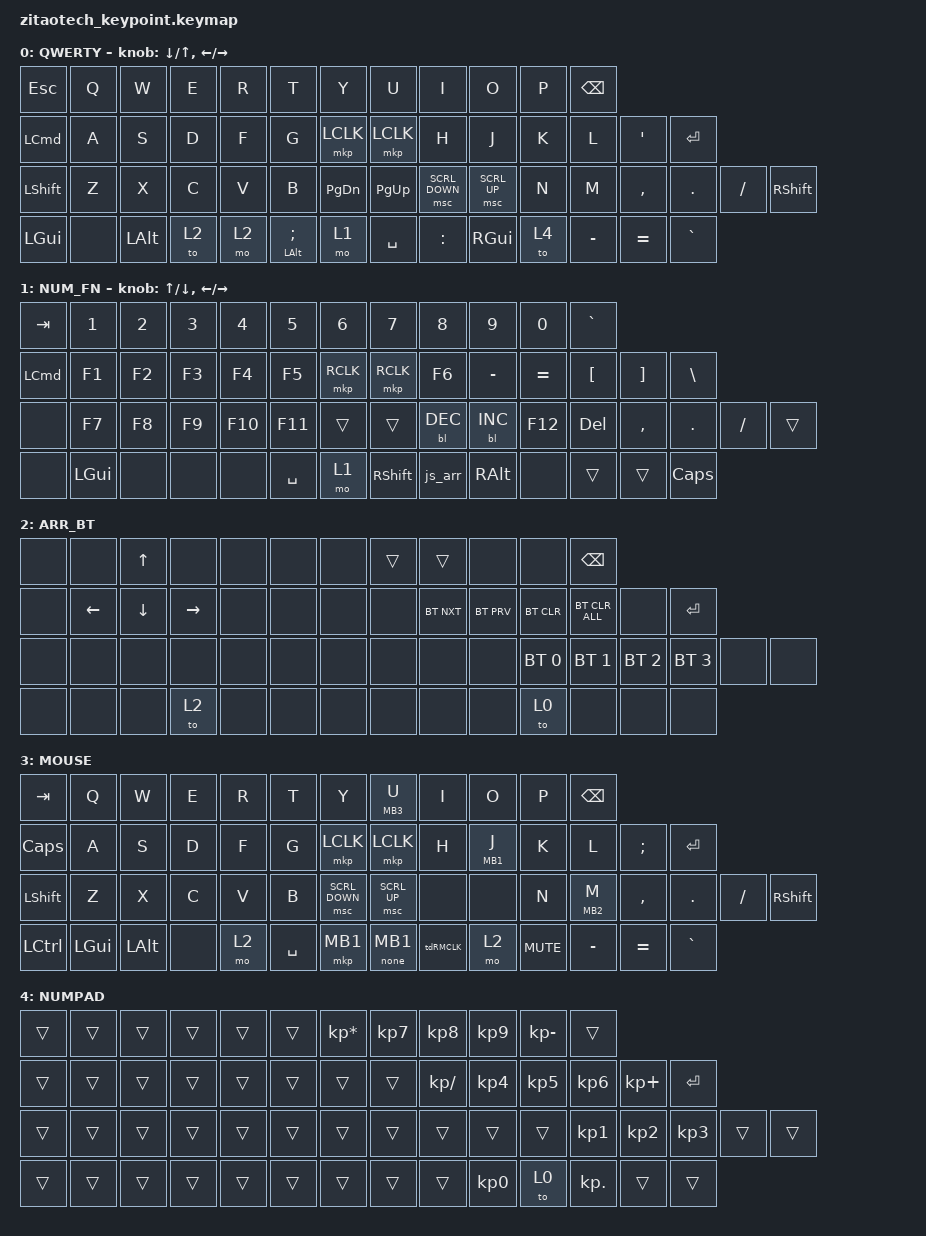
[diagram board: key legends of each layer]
/*
 * Copyright (c) 2025 ZitaoTech
 *
 * SPDX-License-Identifier: MIT
 */

#include <dt-bindings/zmk/mouse.h>
#include <behaviors.dtsi>
#include <dt-bindings/zmk/backlight.h>
#include <dt-bindings/zmk/bt.h>
#include <dt-bindings/zmk/keys.h>
#include <dt-bindings/zmk/pointing.h>

#define LOWER 1
#define RAISE 2
#define MOUSE 3
#define BOT bootloader

/ {
    behaviors {
        td0: tap_dance_0 {
            compatible = "zmk,behavior-tap-dance";
            #binding-cells = <0>;
            tapping-term-ms = <400>;
            bindings = <&mkp LCLK>, <&bt BT_CLR>;
        };
    };

    behaviors {
        tdRMCLK: tap_dance_R_LMouse {
            compatible = "zmk,behavior-tap-dance";
            #binding-cells = <0>;
            tapping-term-ms = <400>;
            bindings = <&mkp RCLK>, <&mkp MCLK>;
        };
    };

    behaviors {
        hm: homerow_mods {
            compatible = "zmk,behavior-hold-tap";
            #binding-cells = <2>;
            tapping-term-ms = <500>;
            bindings = <&kp &kp>;
        };
    };

    behaviors {
        LMouse_sc: behavior_LMouse_Scroll {
            compatible = "zmk,behavior-hold-tap";
            #binding-cells = <2>;
            flavor = "tap-preferred";     /* 单击优先 */
            tapping-term-ms = <200>;       /* 长按阈值 */
            bindings = <&none &mkp>;        /* hold=none, tap=Lmouse */
        };
    };

    behaviors {
        M_kp: behavior_mouse_keypress {
            compatible = "zmk,behavior-hold-tap";
            #binding-cells = <2>;
            flavor = "tap-preferred";     /* 单击优先 */
            tapping-term-ms = <200>;       /* 长按阈值 */
            bindings = <&mkp &kp>;        /* hold=mou key press, tap=key*/
        };
    };

    behaviors {
        BLE_encoder: BLE_encoder {
            compatible = "zmk,behavior-sensor-rotate";
            #sensor-binding-cells = <0>;
            bindings = <&bt BT_NXT>, <&bt BT_PRV>;
        };
    };

    macros {
        js_arr: js_arr {
            compatible = "zmk,behavior-macro";
            #binding-cells = <0>;
            bindings = <&kp EQUAL &kp GT>;
            label = "JS_ARR";
        };
    };

    keymap {
        compatible = "zmk,keymap";

        QWERTY {
            display-name = "QWERTY";
            bindings = <
&kp ESC           &kp Q  &kp W         &kp E  &kp R  &kp T                   &kp Y      &kp U      &kp I           &kp O          &kp P  &kp BSPC
&kp LEFT_COMMAND  &kp A  &kp S         &kp D  &kp F  &kp G                   &mkp LCLK  &mkp LCLK  &kp H           &kp J          &kp K  &kp L      &kp SINGLE_QUOTE  &kp ENTER
&kp LSHFT         &kp Z  &kp X         &kp C  &kp V  &kp B                   &kp PG_DN  &kp PG_UP  &msc SCRL_DOWN  &msc SCRL_UP   &kp N  &kp M      &kp COMMA         &kp DOT    &kp FSLH  &kp RSHFT
&kp LEFT_GUI      &none  &kp LEFT_ALT  &to 2  &mo 2  &mt LEFT_ALT SEMICOLON  &mo 1      &kp SPACE  &kp COLON       &kp RIGHT_GUI  &to 4  &kp MINUS  &kp EQUAL         &kp GRAVE
            >;

            sensor-bindings =
                <&inc_dec_kp DOWN_ARROW UP_ARROW>,
                <&inc_dec_kp LEFT_ARROW RIGHT_ARROW>;
        };

        NUM_FN {
            display-name = "NUM_FN";
            bindings = <
&kp TAB           &kp N1    &kp N2  &kp N3  &kp N4   &kp N5     &kp N6     &kp N7           &kp N8      &kp N9         &kp N0     &kp GRAVE
&kp LEFT_COMMAND  &kp F1    &kp F2  &kp F3  &kp F4   &kp F5     &mkp RCLK  &mkp RCLK        &kp F6      &kp MINUS      &kp EQUAL  &kp LEFT_BRACKET  &kp RIGHT_BRACKET  &kp BACKSLASH
&none             &kp F7    &kp F8  &kp F9  &kp F10  &kp F11    &trans     &trans           &bl BL_DEC  &bl BL_INC     &kp F12    &kp DEL           &kp COMMA          &kp DOT        &kp SLASH  &trans
&none             &kp LGUI  &none   &none   &none    &kp SPACE  &mo 1      &kp RIGHT_SHIFT  &js_arr     &kp RIGHT_ALT  &none      &trans            &trans             &kp CAPS
            >;

            sensor-bindings =
                <&inc_dec_kp UP_ARROW DOWN>,
                <&inc_dec_kp LEFT RIGHT>;
        };

        ARR_BT {
            display-name = "ARR_BT";
            bindings = <
&none  &none     &kp UP    &none      &none  &none  &none  &trans  &trans      &none       &none         &kp BACKSPACE
&none  &kp LEFT  &kp DOWN  &kp RIGHT  &none  &none  &none  &none   &bt BT_NXT  &bt BT_PRV  &bt BT_CLR    &bt BT_CLR_ALL  &none         &kp RETURN
&none  &none     &none     &none      &none  &none  &none  &none   &none       &none       &bt BT_SEL 0  &bt BT_SEL 1    &bt BT_SEL 2  &bt BT_SEL 3  &none  &none
&none  &none     &none     &to 2      &none  &none  &none  &none   &none       &none       &to 0         &none           &none         &none
            >;
        };

        MOUSE_layer {
            display-name = "MOUSE";
            bindings = <
&kp TAB    &kp Q     &kp W     &kp E  &kp R  &kp T      &kp Y           &M_kp MB3 U       &kp I     &kp O        &kp P       &kp BSPC
&kp CAPS   &kp A     &kp S     &kp D  &kp F  &kp G      &mkp LCLK       &mkp LCLK         &kp H     &M_kp MB1 J  &kp K       &kp L        &kp SEMI   &kp ENTER
&kp LSHFT  &kp Z     &kp X     &kp C  &kp V  &kp B      &msc SCRL_DOWN  &msc SCRL_UP      &none     &none        &kp N       &M_kp MB2 M  &kp COMMA  &kp DOT    &kp FSLH  &kp RSHFT
&kp LCTRL  &kp LGUI  &kp LALT  &none  &mo 2  &kp SPACE  &mkp MB1        &LMouse_sc 0 MB1  &tdRMCLK  &mo 2        &kp C_MUTE  &kp MINUS    &kp EQUAL  &kp GRAVE
            >;
        };

        NUMPAD {
            bindings = <
&trans  &trans  &trans  &trans  &trans  &trans  &kp KP_MULTIPLY  &kp KP_NUMBER_7  &kp KP_NUMBER_8  &kp KP_NUMBER_9  &kp KP_SUBTRACT  &trans
&trans  &trans  &trans  &trans  &trans  &trans  &trans           &trans           &kp KP_DIVIDE    &kp KP_NUMBER_4  &kp KP_NUMBER_5  &kp KP_NUMBER_6  &kp KP_PLUS      &kp RETURN
&trans  &trans  &trans  &trans  &trans  &trans  &trans           &trans           &trans           &trans           &trans           &kp KP_NUMBER_1  &kp KP_NUMBER_2  &kp KP_NUMBER_3  &trans  &trans
&trans  &trans  &trans  &trans  &trans  &trans  &trans           &trans           &trans           &kp KP_NUMBER_0  &to 0            &kp KP_DOT       &trans           &trans
            >;
        };
    };
};
